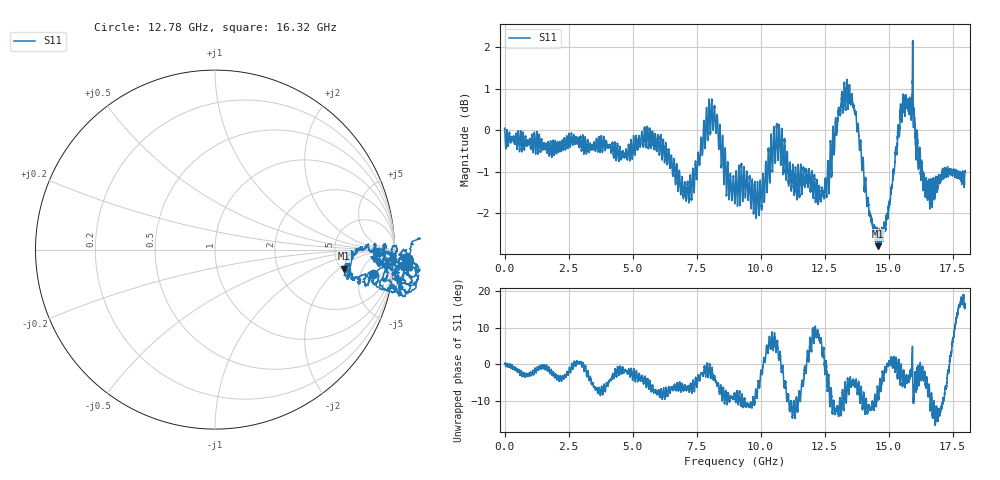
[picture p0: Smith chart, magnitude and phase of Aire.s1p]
!Keysight Technologies N9917A: A.12.46
!Date: Wednesday, 08 November 2023 22:05:14
!TimeZone: (UTC-03:00) Buenos Aires!Model: N9917A
!Serial: MY56072049
!GPS Latitude:
!GPS Longitude:
!GPS TimeStamp: 0001-01-01 00:00:00Z
!GPS Seconds Since Last Read: 0
!CHECKSUM:1190943223
!Correction: S11(ON U)
!S1P File: Measurement: S11:
# Hz S RI R 50
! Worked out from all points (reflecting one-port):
!   10001 points, 30 kHz to 18 GHz, reference 50 ohm
!   lowest |S11| = -2.8 dB at 14.59 GHz (marker M1), VSWR 6.27, Z = 260 - j116 ohm
!   phase of S11 starts at 0 deg and turns +16 deg over the sweep
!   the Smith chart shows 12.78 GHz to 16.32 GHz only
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30000  1.004 0.000341
2.250026e9  0.9688 -0.0622
2.898025e9  0.9613 0.00985
3.776424e9  0.9757 -0.1072
4.500022e9  0.9526 -0.0158
5.621421e9  0.9435 -0.108
6.750019e9  0.8785 -0.0835
7.250418e9  0.8768 -0.0865
8.145016e9  1.004 -0.072
8.724615e9  0.901 -0.13
9.000015e9  0.8105 -0.1194
9.702014e9  0.8185 -0.1331
1.049401e10  0.9564 0.0848
1.078021e10  0.9086 0.0311
1.125001e10  0.8656 -0.2226
1.218961e10  0.8581 0.1157
1.287541e10  0.9173 -0.1789
1.350001e10  1.089 -0.0687
1.422361e10  0.792 -0.1563
1.459261e10  0.7171 -0.1056
1.51308e10  0.8554 0.013
1.55196e10  1.024 -0.0651
1.575e10  1.072 -0.0715
1.59498e10  1.224 -0.1452
1.6299e10  0.9048 -0.0402
1.69848e10  0.85 -0.2034
1.76886e10  0.8543 0.2159
1.8e10  0.854 0.2529
